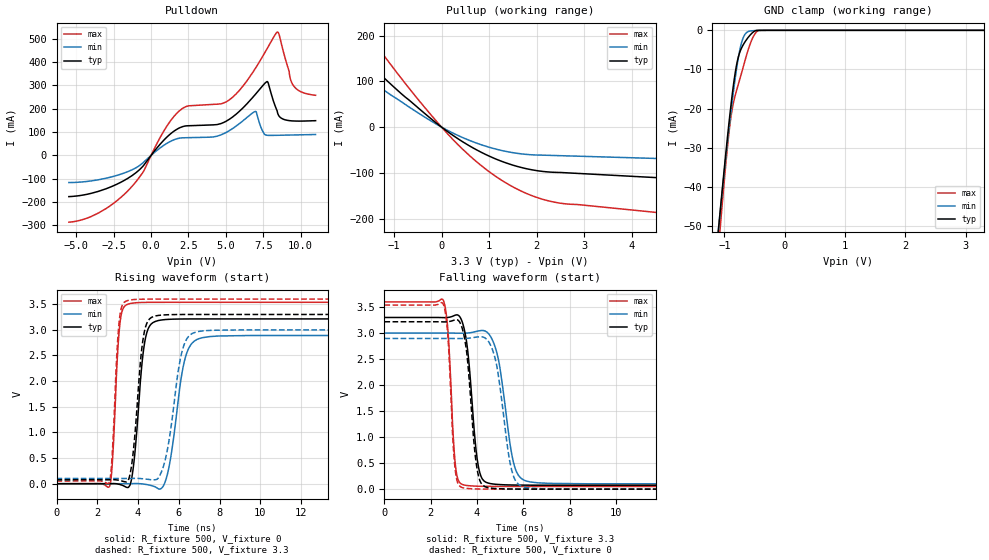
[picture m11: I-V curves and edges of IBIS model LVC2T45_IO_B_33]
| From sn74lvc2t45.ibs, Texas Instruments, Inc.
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[Model]   LVC2T45_IO_B_33
Model_type  I/O
Vinl=0.8
Vinh=2.0
Enable   Active-High
Vref =   0
Rref =   2000
Cref =   15p
Vmeas =   1.65
| variable   typ   min   max
C_comp   6.36pF   5.55pF   7.57pF
| C_pullup   10.02pF   6.53pF   11.81pF
| C_pulldown   9.29pF   7.03pF   12.94pF
| C_tri-state   6.36pF   5.55pF   7.57pF
[Temperature Range]   40   100   -40
| Ambient temperature   25   85   -40
[Voltage range]   3.3   3   3.6
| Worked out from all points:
|   slope of the pulldown table from 0 to 0.495 V, typ, clamps not added: 12.4 ohm
|   slope of the pullup table from 0 to 0.495 V, typ, clamps not added: 14 ohm
|   GND clamp passes 1 mA (typ) near -0.56 V on its own axis
|   rising waveform, R_fixture 500, V_fixture 0: 20-80 % time 402ps typ, 603ps min, 261ps max; typ from 0 V to 3.21 V
|   falling waveform, R_fixture 500, V_fixture 3.3: 20-80 % time 368ps typ, 541ps min, 240ps max; typ from 3.3 V to 0.076 V
|   rising waveform, R_fixture 500, V_fixture 3.3: 20-80 % time 401ps typ, 621ps min, 256ps max; typ from 0.076 V to 3.3 V
|   falling waveform, R_fixture 500, V_fixture 0: 20-80 % time 356ps typ, 523ps min, 236ps max; typ from 3.22 V to 0 V
[GND Clamp]
| LVC2T45_IO_B_33
|   Voltage   I(typ)   I(min)   I(max)
-5.5V     -897.8mA   -832.4mA   -1.016A
-1.095V   -50.33mA   -50.14mA   -55.16mA
-1.065V   -45.41mA   -45.59mA   -49.63mA
-980mV    -31.93mA   -33.06mA   -34.73mA
-915mV    -22.35mA   -24.01mA   -24.95mA
-860mV    -15.14mA   -16.88mA   -19.23mA
-790mV    -8.202mA   -8.982mA   -14.91mA
-735mV    -5.197mA   -4.32mA    -11.95mA
-675mV    -3.353mA   -1.432mA   -8.641mA
-555mV    -899.1uA   -138.8uA   -2.764mA
-450mV    -10.12uA   -45.73uA   -166.1uA
3.3V      26.73pA    99.19nA    342.1pA
[Pulldown]
| LVC2T45_IO_B_33
|   Voltage   I(typ)   I(min)   I(max)
-5.5V     -176.6mA   -116.3mA   -286.2mA
-3.53V    -154.2mA   -104.5mA   -247.2mA
-1.57V    -98.77mA   -69.92mA   -152.8mA
-560mV    -47.37mA   -32.64mA   -73.96mA
855mV     65.58mA    43.47mA    104.9mA
1.94V     119.2mA    74.38mA    193.6mA
5.03V     146.8mA    98.74mA    229.8mA
6.955V    260.1mA    188.1mA    371mA
7.745V    316.2mA    86.28mA    455.8mA
8.425V    191.5mA    86.11mA    528.1mA
9.48V     147.7mA    87.47mA    302.7mA
11V       148.7mA    89.5mA     257.6mA
[Pullup]
| LVC2T45_IO_B_33
|   Voltage   I(typ)   I(min)   I(max)
-5.5V     590.6mA    464.6mA    827.6mA
-2.91V    287.5mA    221.8mA    409mA
-2.3V     220.4mA    168.8mA    315.4mA
-1.73V    160.2mA    121.6mA    230.7mA
-1.62V    148.9mA    112.8mA    214.8mA
-475mV    40.62mA    29.94mA    58.29mA
465mV     -33.42mA   -23.81mA   -50.48mA
940mV     -60.5mA    -42.11mA   -92.84mA
1.355V    -78.3mA    -53.14mA   -122.2mA
2.205V    -97.75mA   -61.55mA   -160.3mA
7.39V     -126.6mA   -77.28mA   -216.8mA
11V       -146.9mA   -88.25mA   -254.9mA
[Ramp]
| LVC2T45_IO_B_33
| variable   typ   min   max
dV/dt_r   1.97/4.19E-10   1.80/6.29E-10   2.16/2.71E-10
dV/dt_f   1.96/3.83E-10   1.77/5.57E-10   2.16/2.50E-10
R_load = 500
[Rising Waveform]
| LVC2T45_IO_B_33
R_fixture =   500
C_fixture =   0
L_fixture =   0
V_fixture =   0
V_fixture_min = 0
V_fixture_max = 0
|   Time   V(typ)   V(min)   V(max)
0s        188.9pV    5.764nV    2.298nV
2.605ns   762.9uV    29.73uV    -51.24mV
3.11ns    -15.71mV   -57.5uV    3.116V
3.61ns    -24.36mV   1.182mV    3.512V
4.33ns    2.765V     -10.26mV   3.535V
4.985ns   3.18V      -95.08mV   3.537V
5.5ns     3.204V     286.5mV    3.537V
6.335ns   3.212V     2.478V     3.537V
7.18ns    3.213V     2.848V     3.537V
40ns      3.213V     2.89V      3.537V
[Falling Waveform]
| LVC2T45_IO_B_33
R_fixture =   500
C_fixture =   0
L_fixture =   0
V_fixture =   3.3
V_fixture_min = 3
V_fixture_max = 3.6
|   Time   V(typ)   V(min)   V(max)
0s        3.3V       3V         3.6V
2.55ns    3.297V     3V         3.625V
2.75ns    3.301V     3V         3.018V
3.075ns   3.347V     2.998V     432.4mV
3.465ns   3.043V     2.998V     78.27mV
4.04ns    488.5mV    3.038V     57.1mV
4.585ns   107mV      2.936V     53.44mV
5.605ns   79.52mV    465.9mV    52.32mV
6.29ns    76.95mV    139.4mV    52.22mV
40ns      75.84mV    101.7mV    52.11mV
[Rising Waveform]
| LVC2T45_IO_B_33
R_fixture =   500
C_fixture =   0
L_fixture =   0
V_fixture =   3.3
V_fixture_min = 3
V_fixture_max = 3.6
|   Time   V(typ)   V(min)   V(max)
0s        75.82mV    101.6mV    52.09mV
2.595ns   76.49mV    101.7mV    30.84mV
3.075ns   64.61mV    101.6mV    3.165V
3.545ns   92.15mV    102.4mV    3.576V
4.265ns   2.864V     94.91mV    3.598V
4.865ns   3.272V     78.23mV    3.6V
5.405ns   3.293V     590.4mV    3.6V
6.185ns   3.299V     2.615V     3.6V
6.91ns    3.3V       2.964V     3.6V
40ns      3.3V       3V         3.6V
[Falling Waveform]
| LVC2T45_IO_B_33
R_fixture =   500
C_fixture =   0
L_fixture =   0
V_fixture =   0
V_fixture_min = 0
V_fixture_max = 0
|   Time   V(typ)   V(min)   V(max)
0s        3.218V     2.897V     3.539V
2.545ns   3.215V     2.897V     3.556V
2.74ns    3.219V     2.897V     2.952V
3.055ns   3.255V     2.896V     388.9mV
3.425ns   2.982V     2.895V     23.38mV
3.995ns   411.4mV    2.924V     4.251mV
4.49ns    27.94mV    2.843V     1.234mV
5.5ns     2.818mV    364.6mV    206.9uV
6.12ns    873.4uV    31.61mV    121.6uV
40ns      27.32uV    38.48uV    15.8uV
